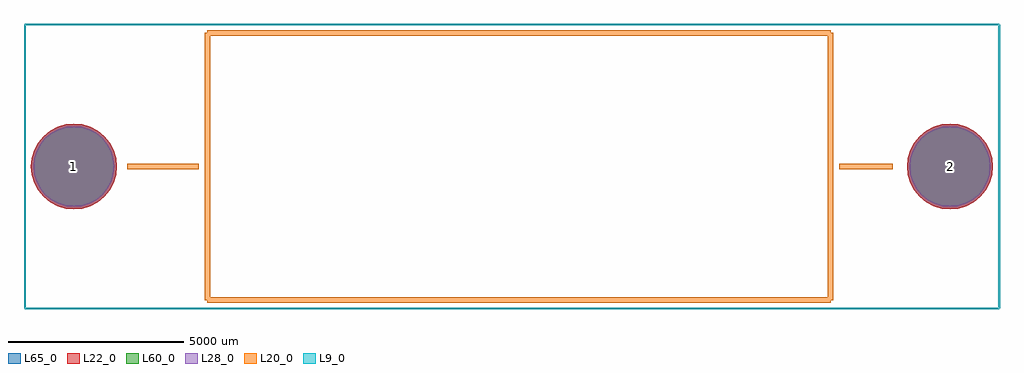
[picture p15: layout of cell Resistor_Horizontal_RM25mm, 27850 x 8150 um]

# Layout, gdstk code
import gdstk
lib = gdstk.Library(unit=1e-6, precision=1e-09)
def P(c, l, *ps):  # polygons
    for p in ps: c.add(gdstk.Polygon(p, *l))
L9_0 = (9, 0)
L20_0 = (20, 0)
L22_0 = (22, 0)
L28_0 = (28, 0)
L60_0 = (60, 0)
L65_0 = (65, 0)

resistor_horizontal_rm25 = lib.new_cell('Resistor_Horizontal_RM25mm')
P(resistor_horizontal_rm25, L22_0, [(26224.3,0),(26200.75,239.107),(26131.005,469.024),(26017.746,680.918),(25865.324,866.644),(25679.598,1019.066),(25467.704,1132.325),(25237.787,1202.07),(24998.68,1225.62),(24759.573,1202.07),(24529.656,1132.325),(24317.762,1019.066),(24132.036,866.644),(23979.614,680.918),(23866.355,469.024),(23796.61,239.107),(23773.06,0),(23796.61,-239.107),(23866.355,-469.024),(23979.614,-680.918),(24132.036,-866.644),(24317.762,-1019.066),(24529.656,-1132.325),(24759.573,-1202.07),(24998.68,-1225.62),(25237.787,-1202.07),(25467.704,-1132.325),(25679.598,-1019.066),(25865.324,-866.644),(26017.746,-680.918),(26131.005,-469.024),(26200.75,-239.107)],
  [(1225.62,0),(1202.07,239.107),(1132.325,469.024),(1019.066,680.918),(866.644,866.644),(680.918,1019.066),(469.024,1132.325),(239.107,1202.07),(0,1225.62),(-239.107,1202.07),(-469.024,1132.325),(-680.918,1019.066),(-866.644,866.644),(-1019.066,680.918),(-1132.325,469.024),(-1202.07,239.107),(-1225.62,0),(-1202.07,-239.107),(-1132.325,-469.024),(-1019.066,-680.918),(-866.644,-866.644),(-680.918,-1019.066),(-469.024,-1132.325),(-239.107,-1202.07),(0,-1225.62),(239.107,-1202.07),(469.024,-1132.325),(680.918,-1019.066),(866.644,-866.644),(1019.066,-680.918),(1132.325,-469.024),(1202.07,-239.107)])
P(resistor_horizontal_rm25, L28_0, [(26149.3,0),(26127.191,224.475),(26061.714,440.323),(25955.386,639.25),(25812.291,813.611),(25637.93,956.706),(25439.003,1063.034),(25223.155,1128.511),(24998.68,1150.62),(24774.205,1128.511),(24558.357,1063.034),(24359.43,956.706),(24185.069,813.611),(24041.974,639.25),(23935.646,440.323),(23870.169,224.475),(23848.06,0),(23870.169,-224.475),(23935.646,-440.323),(24041.974,-639.25),(24185.069,-813.611),(24359.43,-956.706),(24558.357,-1063.034),(24774.205,-1128.511),(24998.68,-1150.62),(25223.155,-1128.511),(25439.003,-1063.034),(25637.93,-956.706),(25812.291,-813.611),(25955.386,-639.25),(26061.714,-440.323),(26127.191,-224.475)],
  [(1150.62,0),(1128.511,224.475),(1063.034,440.323),(956.706,639.25),(813.611,813.611),(639.25,956.706),(440.323,1063.034),(224.475,1128.511),(0,1150.62),(-224.475,1128.511),(-440.323,1063.034),(-639.25,956.706),(-813.611,813.611),(-956.706,639.25),(-1063.034,440.323),(-1128.511,224.475),(-1150.62,0),(-1128.511,-224.475),(-1063.034,-440.323),(-956.706,-639.25),(-813.611,-813.611),(-639.25,-956.706),(-440.323,-1063.034),(-224.475,-1128.511),(0,-1150.62),(224.475,-1128.511),(440.323,-1063.034),(639.25,-956.706),(813.611,-813.611),(956.706,-639.25),(1063.034,-440.323),(1128.511,-224.475)])
P(resistor_horizontal_rm25, L60_0, [(26149.3,0),(26127.191,224.475),(26061.714,440.323),(25955.386,639.25),(25812.291,813.611),(25637.93,956.706),(25439.003,1063.034),(25223.155,1128.511),(24998.68,1150.62),(24774.205,1128.511),(24558.357,1063.034),(24359.43,956.706),(24185.069,813.611),(24041.974,639.25),(23935.646,440.323),(23870.169,224.475),(23848.06,0),(23870.169,-224.475),(23935.646,-440.323),(24041.974,-639.25),(24185.069,-813.611),(24359.43,-956.706),(24558.357,-1063.034),(24774.205,-1128.511),(24998.68,-1150.62),(25223.155,-1128.511),(25439.003,-1063.034),(25637.93,-956.706),(25812.291,-813.611),(25955.386,-639.25),(26061.714,-440.323),(26127.191,-224.475)],
  [(1150.62,0),(1128.511,224.475),(1063.034,440.323),(956.706,639.25),(813.611,813.611),(639.25,956.706),(440.323,1063.034),(224.475,1128.511),(0,1150.62),(-224.475,1128.511),(-440.323,1063.034),(-639.25,956.706),(-813.611,813.611),(-956.706,639.25),(-1063.034,440.323),(-1128.511,224.475),(-1150.62,0),(-1128.511,-224.475),(-1063.034,-440.323),(-956.706,-639.25),(-813.611,-813.611),(-639.25,-956.706),(-440.323,-1063.034),(-224.475,-1128.511),(0,-1150.62),(224.475,-1128.511),(440.323,-1063.034),(639.25,-956.706),(813.611,-813.611),(956.706,-639.25),(1063.034,-440.323),(1128.511,-224.475)])
P(resistor_horizontal_rm25, L65_0, [(26224.3,0),(26200.75,239.107),(26131.005,469.024),(26017.746,680.918),(25865.324,866.644),(25679.598,1019.066),(25467.704,1132.325),(25237.787,1202.07),(24998.68,1225.62),(24759.573,1202.07),(24529.656,1132.325),(24317.762,1019.066),(24132.036,866.644),(23979.614,680.918),(23866.355,469.024),(23796.61,239.107),(23773.06,0),(23796.61,-239.107),(23866.355,-469.024),(23979.614,-680.918),(24132.036,-866.644),(24317.762,-1019.066),(24529.656,-1132.325),(24759.573,-1202.07),(24998.68,-1225.62),(25237.787,-1202.07),(25467.704,-1132.325),(25679.598,-1019.066),(25865.324,-866.644),(26017.746,-680.918),(26131.005,-469.024),(26200.75,-239.107)],
  [(1225.62,0),(1202.07,239.107),(1132.325,469.024),(1019.066,680.918),(866.644,866.644),(680.918,1019.066),(469.024,1132.325),(239.107,1202.07),(0,1225.62),(-239.107,1202.07),(-469.024,1132.325),(-680.918,1019.066),(-866.644,866.644),(-1019.066,680.918),(-1132.325,469.024),(-1202.07,239.107),(-1225.62,0),(-1202.07,-239.107),(-1132.325,-469.024),(-1019.066,-680.918),(-866.644,-866.644),(-680.918,-1019.066),(-469.024,-1132.325),(-239.107,-1202.07),(0,-1225.62),(239.107,-1202.07),(469.024,-1132.325),(680.918,-1019.066),(866.644,-866.644),(1019.066,-680.918),(1132.325,-469.024),(1202.07,-239.107)])
resistor_horizontal_rm25.add(gdstk.FlexPath([(21590,3810),(3810,3810)], 149.998, ends="flush", simple_path=True, layer=20, datatype=0))  # L20_0
resistor_horizontal_rm25.add(gdstk.FlexPath([(21590,-3810),(21590,3810)], 149.998, ends="flush", simple_path=True, layer=20, datatype=0))  # L20_0
resistor_horizontal_rm25.add(gdstk.FlexPath([(3810,-3810),(21590,-3810)], 149.998, ends="flush", simple_path=True, layer=20, datatype=0))  # L20_0
resistor_horizontal_rm25.add(gdstk.FlexPath([(3810,3810),(3810,-3810)], 149.998, ends="flush", simple_path=True, layer=20, datatype=0))  # L20_0
resistor_horizontal_rm25.add(gdstk.FlexPath([(21844,0),(23368,0)], 149.998, ends="flush", simple_path=True, layer=20, datatype=0))  # L20_0
resistor_horizontal_rm25.add(gdstk.FlexPath([(3556,0),(1524,0)], 149.998, ends="flush", simple_path=True, layer=20, datatype=0))  # L20_0
resistor_horizontal_rm25.add(gdstk.FlexPath([(-1400,-4050),(26400,-4050)], 50, ends="flush", simple_path=True, layer=9, datatype=0))  # L9_0
resistor_horizontal_rm25.add(gdstk.FlexPath([(26400,4050),(26400,-4050)], 50, ends="flush", simple_path=True, layer=9, datatype=0))  # L9_0
resistor_horizontal_rm25.add(gdstk.FlexPath([(-1400,-4050),(-1400,4050)], 50, ends="flush", simple_path=True, layer=9, datatype=0))  # L9_0
resistor_horizontal_rm25.add(gdstk.FlexPath([(-1400,4050),(26400,4050)], 50, ends="flush", simple_path=True, layer=9, datatype=0))  # L9_0
resistor_horizontal_rm25.add(gdstk.Label('2', (24998.68,0), layer=28, texttype=0))
resistor_horizontal_rm25.add(gdstk.Label('1', (0,0), layer=28, texttype=0))
resistor_horizontal_rm25.add(gdstk.Label('type', (12499.34,-6499.86), layer=9, texttype=0))
resistor_horizontal_rm25.add(gdstk.Label('devicename', (12499.34,5750.56), layer=9, texttype=0))

lib.write_gds('Resistor_Horizontal_RM25mm.gds')
